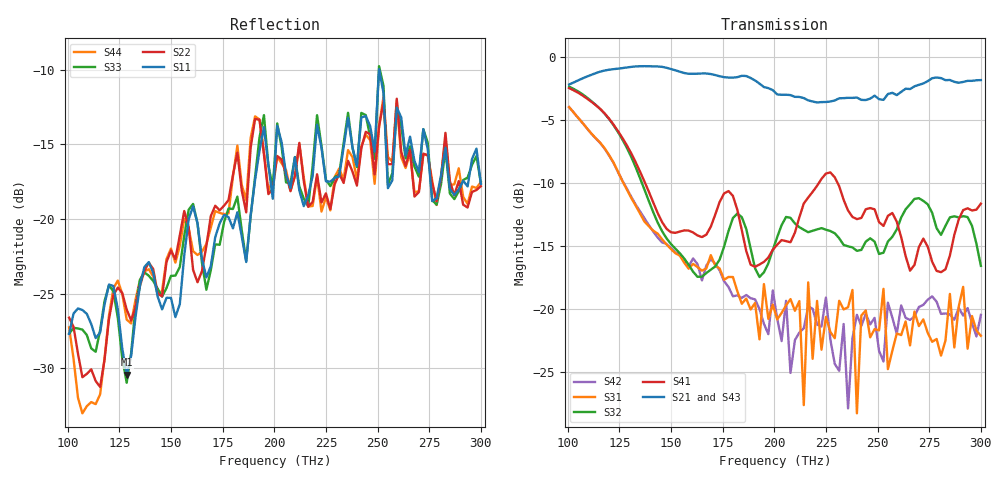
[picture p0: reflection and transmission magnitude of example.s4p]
!This S-parameter file was generated as part of the OIDT. This project was completed as part of research conducted with my major professor and advisor, Prof. Ata Zadehgol, at the Applied and Computational Electromagnetics Signal and Power Integrity (ACEM-SPI) Lab while working toward the Ph.D. in El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
!Created with skrf (http://scikit-rf.org).
# Hz S RI R 50.0
!freq ReS11 ImS11 ReS12 ImS12 ReS13 ImS13
! ReS14 ImS14
! ReS21 ImS21 ReS22 ImS22 ReS23 ImS23
! ReS24 ImS24
! ReS31 ImS31 ReS32 ImS32 ReS33 ImS33
! ReS34 ImS34
! ReS41 ImS41 ReS42 ImS42 ReS43 ImS43
! ReS44 ImS44
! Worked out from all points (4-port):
!   94 points, 100.7 THz to 300 THz, reference 50 ohm
!   strongest paths, dB at 100.7 THz, 150 THz, 201.4 THz, 250.7 THz, 300 THz:
!     S21: -2.1, -0.9, -2.9, -3.3, -1.8
!     S43: -2.1, -0.9, -2.8, -3.3, -2.0
!     S41: -2.4, -13.9, -14.9, -13.1, -11.6
!     S32: -2.3, -14.8, -14.3, -15.6, -16.5
!     S31: -4.0, -15.2, -20.8, -21.7, -22.1
!     S42: -3.9, -15.2, -20.7, -23.3, -20.4
!   lowest |S11| = -30.4 dB at 128.6 THz (marker M1), VSWR 1.06, Z = 51 + j2.85 ohm
!   |S11| at or under -10 dB: start of sweep to 250.7 THz; 250.8 THz to end of sweep
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1.007149e14  0.00271 0.0411  0.7808 -0.000101  0.6344 0.0147  0.7555 0.011
             0.7808 -0.000101  0.00574 0.0463  0.7652 0.0111  0.6345 0.0253
             0.6344 0.0147  0.7652 0.0111  0.0025 0.0412  0.7821 0.00032
             0.7555 0.011  0.6345 0.0253  0.7821 0.00032  0.00813 0.0425
1.285722e14  0.0111 0.0279  0.9122 -0.000576  0.2994 0.0192  0.449 0.00235
             0.9122 -0.000576  0.0123 0.0482  0.4391 0.00628  0.3015 -0.0225
             0.2994 0.0192  0.4391 0.00628  0.0119 0.0256  0.914 -9.26e-05
             0.449 0.00235  0.3015 -0.0225  0.914 -9.26e-05  0.00932 0.045
1.950011e14  0.0107 0.2027  0.7628 -0.00278  0.1059 0.0682  0.1541 -0.00869
             0.7628 -0.00278  0.0294 0.1619  0.14 -0.00844  0.0805 -0.0345
             0.1059 0.0682  0.14 -0.00844  0.00977 0.2225  0.7624 -0.00389
             0.1541 -0.00869  0.0805 -0.0345  0.7624 -0.00389  0.0312 0.1653
2.142869e14  0.0414 0.1023  0.6899 -0.00414  0.0416 -0.00079  0.2626 -0.0151
             0.6899 -0.00414  0.0375 0.1283  0.2069 -0.00483  0.0639 0.0546
             0.0416 -0.00079  0.2069 -0.00483  0.0387 0.1104  0.6907 -0.00476
             0.2626 -0.0151  0.0639 0.0546  0.6907 -0.00476  0.0336 0.1335
2.164298e14  0.0437 0.1117  0.6753 -0.00409  0.0869 0.0939  0.2777 -0.0119
             0.6753 -0.00409  0.0489 0.0983  0.2023 -0.00393  0.0729 0.0723
             0.0869 0.0939  0.2023 -0.00393  0.0423 0.1017  0.6765 -0.00443
             0.2777 -0.0119  0.0729 0.0723  0.6765 -0.00443  0.045 0.1004
2.400013e14  0.0382 0.1456  0.6928 -0.00955  0.0346 -0.0172  0.228 0.00332
             0.6928 -0.00955  0.0405 0.1227  0.1707 -0.000696  0.0928 -0.0208
             0.0346 -0.0172  0.1707 -0.000696  0.04 0.1437  0.6952 -0.00951
             0.228 0.00332  0.0928 -0.0208  0.6952 -0.00951  0.0397 0.1299
3.000017e14  0.0325 0.1268  0.8129 -0.00308  0.0785 -0.000925  0.2628 -0.00275
             0.8129 -0.00308  0.0361 0.1236  0.1487 0.00445  0.094 -0.0143
             0.0785 -0.000925  0.1487 0.00445  0.0297 0.1284  0.7899 -0.00329
             0.2628 -0.00275  0.094 -0.0143  0.7899 -0.00329  0.0368 0.1277
